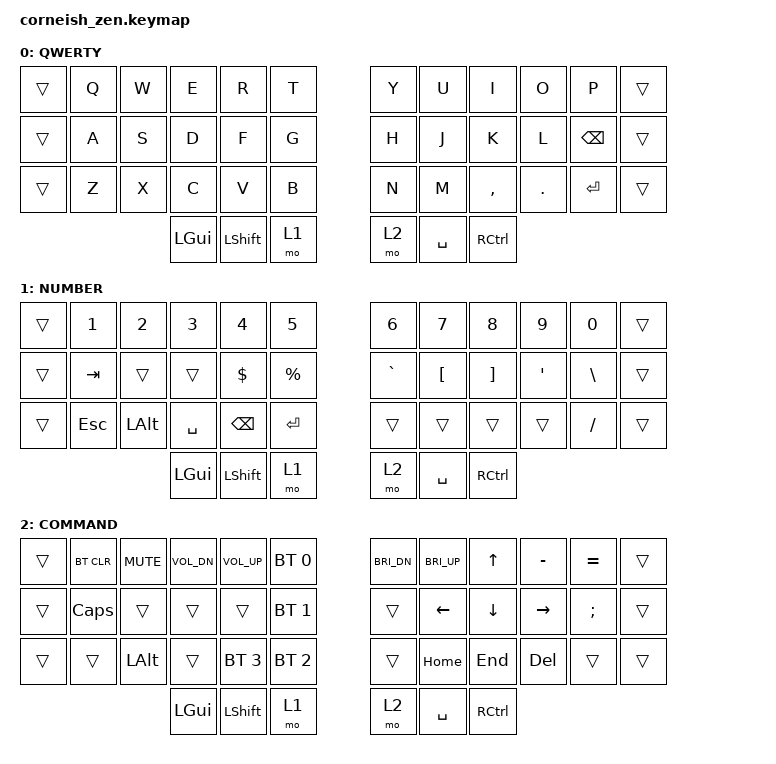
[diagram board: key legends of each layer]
#include <behaviors.dtsi>
#include <dt-bindings/zmk/keys.h>
#include <dt-bindings/zmk/bt.h>

/ {
  chosen {
    zmk,matrix_transform = &default_transform;
    //zmk,matrix_transform = &five_column_transform;
  };
};

/ {
        keymap {
                compatible = "zmk,keymap";

                default_layer {
                        label = "QWERTY";
// ------------------------------------------------------------------------------------------
// |       |  Q  |  W  |  E  |  R  |  T  |        |  Y  |  U   |  I  |  O  |  P   |  &trans |
// |       |  A  |  S  |  D  |  F  |  G  |        |  H  |  J   |  K  |  L  | BKSP |  &trans |
// |       |  Z  |  X  |  C  |  V  |  B  |        |  N  |  M   |  ,  |  .  | ENT  |  &trans |
//                     | GUI |SHIFT| LWR |        | RSE |  SPC |CTRL |
                        bindings = <
  &trans    &kp Q &kp W &kp E &kp R     &kp T        &kp Y &kp U  &kp I     &kp O   &kp P     &trans
  &trans    &kp A &kp S &kp D &kp F     &kp G        &kp H &kp J  &kp K     &kp L   &kp BSPC  &trans 
  &trans    &kp Z &kp X &kp C &kp V     &kp B        &kp N &kp M  &kp COMMA &kp DOT &kp RET   &trans 
                  &kp LGUI    &kp LSHFT &mo 1        &mo 2        &kp SPACE &kp RCTRL
                         >;
                };
                lower_layer {
                        label = "NUMBER";
// -----------------------------------------------------------------------------------------
// |       |  1  |  2  |  3  |  4  |  5  |        |  6  |  7  |  8   |  9  |  0  |      | 
// |       | TAB |     |     |  $  |  %  |        |  `  |  [  |  ]   |  '  |  \  |      |
// |       | ESC | ALT | SPC |BKSP | ENT |        |     |     |      |     |  /  |      |
//                     | GUI |SHIFT|     |        |     | SPC | CTRL |
                        bindings = <
  &trans  &kp N1    &kp N2    &kp N3     &kp N4    &kp N5        &kp N6     &kp N7     &kp N8     &kp N9   &kp N0    &trans
  &trans  &kp TAB   &trans    &trans     &kp DLLR  &kp PRCNT     &kp GRAVE  &kp LBKT   &kp RBKT   &kp SQT  &kp BSLH  &trans
  &trans  &kp ESC   &kp LALT  &kp SPACE  &kp BSPC  &kp RET       &trans     &trans     &trans     &trans   &kp FSLH  &trans
                              &kp LGUI   &kp LSHFT &mo 1         &mo 2      &kp SPACE  &kp RCTRL
                      >;
                };

                raise_layer {
                        label = "COMMAND";
// -----------------------------------------------------------------------------------------
// |      |BTCLR|V_MUTE| V_DN| V_UP| BT1 |        |BR_DN |BR_UP|  UP  |  -  | = |     |
// |      | CAP |      |     |     | BT2 |        |      | LFT | DWN  | RGT | ; |     | 
// |      |     | ALT  |     | BT4 | BT3 |        |      | HOME| END  | DEL |   |     |     
//                     | GUI |SHIFT|     |        |      |SPC  | CTRL |
                        bindings = <
  &trans &bt BT_CLR &kp C_MUTE &kp C_VOL_DN  &kp C_VOL_UP  &bt BT_SEL 0  &kp C_BRI_DN &kp C_BRI_UP &kp UP   &kp MINUS  &kp EQUAL &trans
  &trans &kp CAPS   &trans     &trans        &trans        &bt BT_SEL 1  &trans       &kp LEFT     &kp DOWN &kp RIGHT  &kp SEMI  &trans 
  &trans &trans     &kp LALT   &trans        &bt BT_SEL 3  &bt BT_SEL 2  &trans       &kp HOME     &kp END  &kp DEL    &trans  &trans
                    	        &kp LGUI      &kp LSHFT     &mo 1         &mo 2        &kp SPACE    &kp RCTRL

                        >;
                };
        };
};
